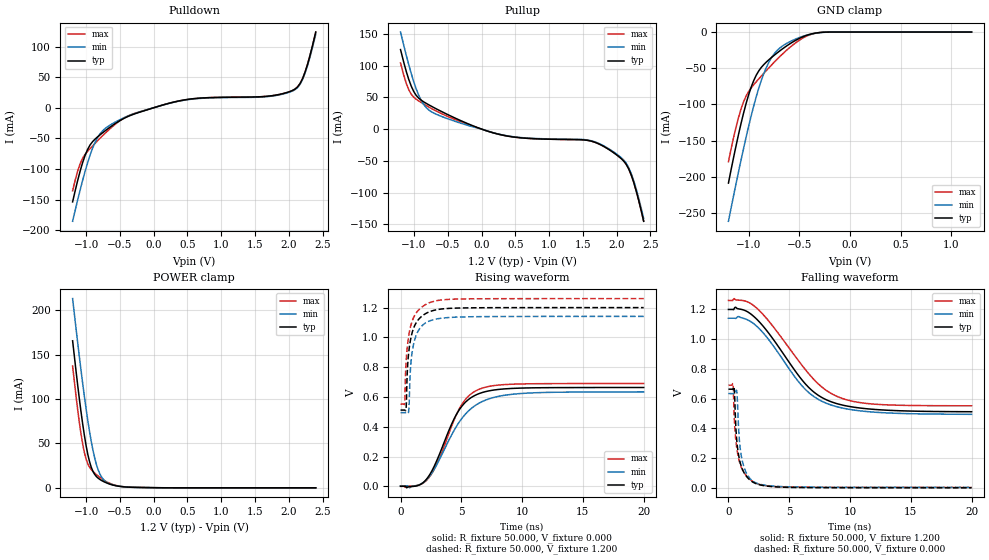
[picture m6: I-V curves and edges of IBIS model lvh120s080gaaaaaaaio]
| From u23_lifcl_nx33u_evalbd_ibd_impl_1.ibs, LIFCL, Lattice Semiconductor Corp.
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[Model] lvh120s080gaaaaaaaio
Model_type I/O
Polarity   Non-Inverting
Enable   Active-Low
Vinl =  0.420V
Vinh =  0.780V
Vmeas =  0.600V
Cref =  0.0F
Rref =  1.000M
Vref =  0.0V
C_comp   5.000pF   4.000pF   5.500pF
[Temperature Range]   25.000   0.125k   -40.000
[Voltage Range]   1.200V   1.140V   1.260V
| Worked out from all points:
|   slope of the pulldown table from 0 to 0.18 V, typ, clamps not added: 30.5 ohm
|   slope of the pullup table from 0 to 0.18 V, typ, clamps not added: 29.3 ohm
|   GND clamp passes 1 mA (typ) near -0.32 V on its own axis
|   POWER clamp passes 1 mA (typ) near -0.45 V on its own axis
|   rising waveform, R_fixture 50.000, V_fixture 0.000: 20-80 % time 2.22ns typ, 2.74ns min, 2.13ns max; typ from 0 V to 0.664 V
|   rising waveform, R_fixture 50.000, V_fixture 1.200: 20-80 % time 569ps typ, 542ps min, 612ps max; typ from 0.512 V to 1.2 V
|   falling waveform, R_fixture 50.000, V_fixture 1.200: 20-80 % time 3.85ns typ, 3.69ns min, 4.12ns max; typ from 1.2 V to 0.512 V
|   falling waveform, R_fixture 50.000, V_fixture 0.000: 20-80 % time 561ps typ, 546ps min, 604ps max; typ from 0.664 V to 0 V
[GND_clamp]
|Voltage   I(typ)   I(min)   I(max)
-1.2V     -208.9mA   -261.7mA   -179.3mA
-1.125V   -157.4mA   -209.8mA   -131.5mA
-1.075V   -126mA     -176.6mA   -106.1mA
-1.025V   -98.42mA   -145mA     -88.28mA
-950mV    -66.96mA   -101.9mA   -72.76mA
-875mV    -48.78mA   -66.64mA   -60.78mA
-825mV    -41.38mA   -48.67mA   -53.1mA
-750mV    -32.3mA    -30.34mA   -41.99mA
-675mV    -24.14mA   -20.11mA   -31.53mA
-475mV    -7.155mA   -6.375mA   -9.116mA
-300mV    -673.7uA   -900.4uA   -619.4uA
1.2V      0A         0A         0A
[POWER_clamp]
|Voltage   I(typ)   I(min)   I(max)
-1.2V     165.7mA    213.3mA    137.1mA
-1.125V   115.8mA    163.7mA    88.19mA
-1.05V    71.42mA    117.1mA    48.87mA
-1V       47.37mA    88.79mA    32.13mA
-950mV    29.54mA    63.68mA    23.24mA
-875mV    15.17mA    34.1mA     16.62mA
-825mV    10.91mA    20.81mA    13.34mA
-775mV    8.283mA    12.48mA    10.42mA
-700mV    5.463mA    6.247mA    6.777mA
-525mV    1.711mA    1.811mA    1.978mA
-300mV    395.7uA    364.9uA    500.6uA
2.4V      -178.9uA   -186.1uA   -181.3uA
[Pulldown]
|Voltage   I(typ)   I(min)   I(max)
-1.2V     -153.9mA   -185.6mA   -135.8mA
-1.089V   -103.8mA   -134.7mA   -91.7mA
-978mV    -68.12mA   -90mA      -71.13mA
-867mV    -51.18mA   -56.52mA   -58.14mA
-719mV    -37.72mA   -33.97mA   -41.78mA
-386mV    -14.55mA   -13.79mA   -13.75mA
317mV     9.765mA    9.472mA    9.765mA
1.686V    18.86mA    18.29mA    18.86mA
2.056V    28.26mA    27.41mA    28.26mA
2.204V    47.45mA    46.03mA    47.45mA
2.278V    70.9mA     68.8mA     70.9mA
2.4V      123.8mA    120.1mA    123.8mA
[Pullup]
|Voltage   I(typ)   I(min)   I(max)
-1.2V     125.1mA    152.7mA    103.9mA
-1.115V   90.7mA     116.1mA    72mA
-1.004V   59.02mA    74.4mA     50.12mA
-893mV    45.38mA    44.88mA    41.74mA
-782mV    38.2mA     30.11mA    34.71mA
-227mV    9.539mA    6.593mA    8.339mA
254mV     -8.173mA   -7.928mA   -8.173mA
1.512V    -17.02mA   -16.51mA   -17.02mA
1.771V    -25.09mA   -24.34mA   -25.09mA
2.141V    -55.39mA   -53.73mA   -55.39mA
2.252V    -83.6mA    -81.1mA    -83.6mA
2.4V      -145.1mA   -140.7mA   -145.1mA
[Ramp]
| variable   typ   min   max
dV/dt_r   0.491/2.229n   0.384/2.743n   0.486/2.141n
dV/dt_f   0.486/3.886n   0.452/3.715n   0.491/4.132n
R_load = 50.000
[Rising Waveform]
R_fixture = 50.000
V_fixture = 0.000
V_fixture_min = 0.000
V_fixture_max = 0.000
|  time   V(typ)   V(min)   V(max)
0s        38.48uV    3.07mV     3.068mV
756ps     -2.344mV   -10.02mV   1.596mV
1.497ns   7.524mV    9.694mV    8.288mV
2.277ns   63.05mV    56.24mV    52.8mV
3.098ns   194.8mV    163.5mV    169.1mV
4.711ns   498.2mV    416.8mV    501.2mV
5.516ns   577.9mV    500.1mV    599.5mV
6.435ns   621.7mV    557.3mV    650.6mV
9.776ns   659.2mV    622.4mV    687.1mV
20ns      663.6mV    634.2mV    690.5mV
[Rising Waveform]
R_fixture = 50.000
V_fixture = 1.200
V_fixture_min = 1.140
V_fixture_max = 1.260
|  time   V(typ)   V(min)   V(max)
0s        511.9mV    494.5mV    551.9mV
336ps     512.2mV    494.6mV    552.5mV
449ps     516.9mV    494.8mV    820.6mV
557ps     767.3mV    492.8mV    936.1mV
657ps     884.7mV    497.4mV    1.002V
867ps     1.002V     839.4mV    1.085V
1.069ns   1.06V      951.7mV    1.132V
1.387ns   1.111V     1.032V     1.174V
2.346ns   1.171V     1.109V     1.231V
20ns      1.2V       1.141V     1.26V
[Falling Waveform]
R_fixture = 50.000
V_fixture = 1.200
V_fixture_min = 1.140
V_fixture_max = 1.260
|  time   V(typ)   V(min)   V(max)
0s        1.2V       1.141V     1.26V
592ps     1.215V     1.14V      1.266V
1.252ns   1.196V     1.14V      1.259V
2.351ns   1.132V     1.085V     1.207V
6.09ns    721.9mV    682.6mV    820.2mV
7.133ns   637.3mV    608mV      719.9mV
8.186ns   587.5mV    564.6mV    647.8mV
9.562ns   553.4mV    533.5mV    596.1mV
11.44ns   531.5mV    512.7mV    567.1mV
20ns      511.9mV    494.5mV    551.9mV
[Falling Waveform]
R_fixture = 50.000
V_fixture = 0.000
V_fixture_min = 0.000
V_fixture_max = 0.000
|  time   V(typ)   V(min)   V(max)
0s        663.6mV    634.2mV    690.5mV
370ps     664.1mV    633.9mV    701.6mV
467ps     674.3mV    633.9mV    496.5mV
550ps     526.7mV    635.7mV    372.9mV
670ps     332.8mV    654.3mV    276.2mV
911ps     188.9mV    310.3mV    173.9mV
1.08ns    139.3mV    204.9mV    134.2mV
1.351ns   92.77mV    123mV      94.68mV
2.297ns   27.41mV    31.9mV     30.5mV
20ns      38.48uV    3.07mV     3.068mV
